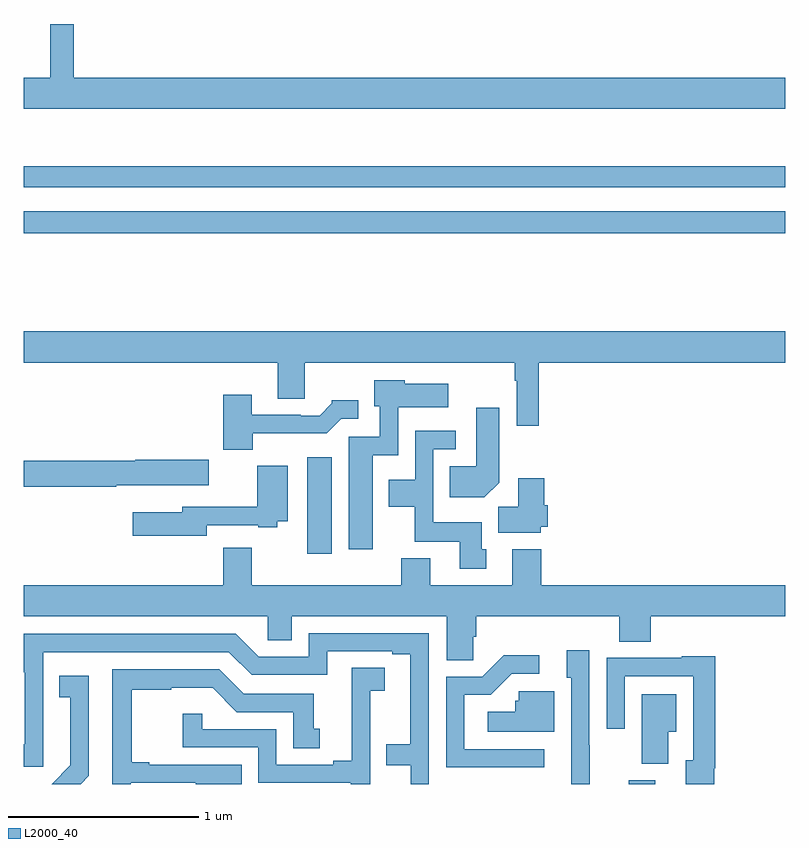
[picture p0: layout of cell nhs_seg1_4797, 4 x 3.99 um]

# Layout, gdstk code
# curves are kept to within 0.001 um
import gdstk
lib = gdstk.Library(unit=1e-6, precision=1e-09)
def R(c, l, rs):  # rectangles x0, y0, x1, y1
    for r in rs: c.add(gdstk.rectangle(r[:2], r[2:], *l))
def P(c, l, *ps):  # polygons
    for p in ps: c.add(gdstk.Polygon(p, *l))
L2000_40 = (2000, 40)

nhs_seg1_4797 = lib.new_cell('nhs_seg1_4797')
R(nhs_seg1_4797, L2000_40, [(374.177,536.199,374.317,536.22), (372.488,537.408,372.619,537.916), (371,539.092,375,539.208), (371,539.334,375,539.443)])
P(nhs_seg1_4797, L2000_40, [(375,539.908),(371.263,539.908),(371.263,540.19),(371.141,540.19),(371.141,539.908),(371,539.908),(371,539.744),(375,539.744)],
  [(373.706,538.412),(375,538.412),(375,538.576),(371,538.576),(371,538.412),(372.335,538.412),(372.335,538.222),(372.475,538.222),(372.475,538.412),(373.578,538.412),(373.578,538.316),(373.59,538.316),(373.59,538.08),(373.706,538.08)],
  [(372.832,537.926),(372.966,537.926),(372.966,538.178),(373.231,538.178),(373.231,538.3),(373.002,538.3),(373.002,538.318),(372.842,538.318),(372.842,538.182),(372.87,538.182),(372.87,538.023),(372.707,538.023),(372.707,537.432),(372.832,537.432)],
  [(372.202,538.04),(372.593,538.04),(372.669,538.116),(372.757,538.116),(372.757,538.213),(372.618,538.213),(372.618,538.198),(372.554,538.134),(372.455,538.134),(372.455,538.137),(372.199,538.137),(372.199,538.243),(372.047,538.243),(372.047,537.953),(372.202,537.953)],
  [(373.498,537.782),(373.498,538.174),(373.376,538.174),(373.376,537.868),(373.237,537.868),(373.237,537.704),(373.42,537.704)],
  [(373.429,537.432),(373.405,537.432),(373.405,537.574),(373.152,537.574),(373.152,537.957),(373.27,537.957),(373.27,538.053),(373.056,538.053),(373.056,537.796),(372.917,537.796),(372.917,537.656),(373.054,537.656),(373.054,537.47),(373.289,537.47),(373.289,537.33),(373.429,537.33)],
  [(371.486,537.767),(371.971,537.767),(371.971,537.902),(371.586,537.902),(371.586,537.896),(371,537.896),(371,537.76),(371.486,537.76)],
  [(371.962,537.558),(372.233,537.558),(372.233,537.546),(372.333,537.546),(372.333,537.578),(372.388,537.578),(372.388,537.871),(372.226,537.871),(372.226,537.654),(371.834,537.654),(371.834,537.625),(371.574,537.625),(371.574,537.503),(371.962,537.503)],
  [(373.716,537.549),(373.751,537.549),(373.751,537.663),(373.733,537.663),(373.733,537.805),(373.598,537.805),(373.598,537.656),(373.493,537.656),(373.493,537.518),(373.716,537.518)],
  [(373.362,536.971),(373.376,536.971),(373.376,537.08),(374.129,537.08),(374.129,536.947),(374.294,536.947),(374.294,537.08),(375,537.08),(375,537.244),(373.718,537.244),(373.718,537.433),(373.565,537.433),(373.565,537.244),(373.135,537.244),(373.135,537.385),(372.983,537.385),(372.983,537.244),(372.199,537.244),(372.199,537.439),(372.047,537.439),(372.047,537.244),(371,537.244),(371,537.08),(372.282,537.08),(372.282,536.953),(372.409,536.953),(372.409,537.08),(373.223,537.08),(373.223,536.848),(373.362,536.848)],
  [(373.128,536.991),(372.498,536.991),(372.498,536.868),(372.234,536.868),(372.114,536.988),(371,536.988),(371,536.785),(371.005,536.785),(371.005,536.409),(371,536.409),(371,536.289),(371.104,536.289),(371.103,536.892),(372.078,536.892),(372.198,536.772),(372.594,536.772),(372.594,536.895),(372.935,536.895),(372.935,536.88),(373.031,536.88),(373.031,536.407),(372.904,536.407),(372.904,536.298),(373.032,536.298),(373.032,536.199),(373.128,536.199)],
  [(373.973,536.402),(373.971,536.402),(373.971,536.902),(373.853,536.902),(373.853,536.757),(373.875,536.757),(373.875,536.199),(373.973,536.199)],
  [(373.735,536.382),(373.314,536.382),(373.314,536.667),(373.452,536.667),(373.563,536.778),(373.708,536.778),(373.708,536.876),(373.52,536.876),(373.407,536.763),(373.218,536.763),(373.218,536.286),(373.735,536.286)],
  [(374.626,536.281),(374.633,536.281),(374.633,536.869),(374.457,536.869),(374.457,536.862),(374.061,536.862),(374.061,536.49),(374.157,536.49),(374.157,536.766),(374.517,536.766),(374.517,536.325),(374.477,536.325),(374.477,536.199),(374.626,536.199)],
  [(372.819,536.491),(372.821,536.491),(372.821,536.689),(372.895,536.689),(372.895,536.81),(372.724,536.81),(372.724,536.699),(372.722,536.699),(372.722,536.321),(372.626,536.321),(372.626,536.301),(372.327,536.301),(372.327,536.487),(371.937,536.487),(371.937,536.569),(371.836,536.569),(371.836,536.391),(372.231,536.391),(372.231,536.205),(372.718,536.205),(372.718,536.199),(372.819,536.199)],
  [(371.562,536.205),(371.903,536.205),(371.903,536.199),(372.146,536.199),(372.146,536.301),(371.659,536.301),(371.659,536.314),(371.567,536.314),(371.567,536.694),(371.774,536.694),(371.774,536.705),(371.992,536.705),(372.12,536.577),(372.416,536.577),(372.416,536.386),(372.556,536.386),(372.556,536.49),(372.523,536.49),(372.523,536.673),(372.156,536.673),(372.027,536.802),(371.466,536.802),(371.466,536.199),(371.562,536.199)],
  [(371.343,536.242),(371.343,536.767),(371.188,536.767),(371.188,536.654),(371.246,536.654),(371.246,536.297),(371.148,536.199),(371.3,536.199)],
  [(373.786,536.685),(373.599,536.685),(373.599,536.637),(373.581,536.637),(373.581,536.578),(373.437,536.578),(373.437,536.474),(373.786,536.474)],
  [(374.386,536.474),(374.428,536.474),(374.428,536.671),(374.246,536.671),(374.246,536.305),(374.386,536.305)])

lib.write_gds('nhs_seg1_4797.gds')
